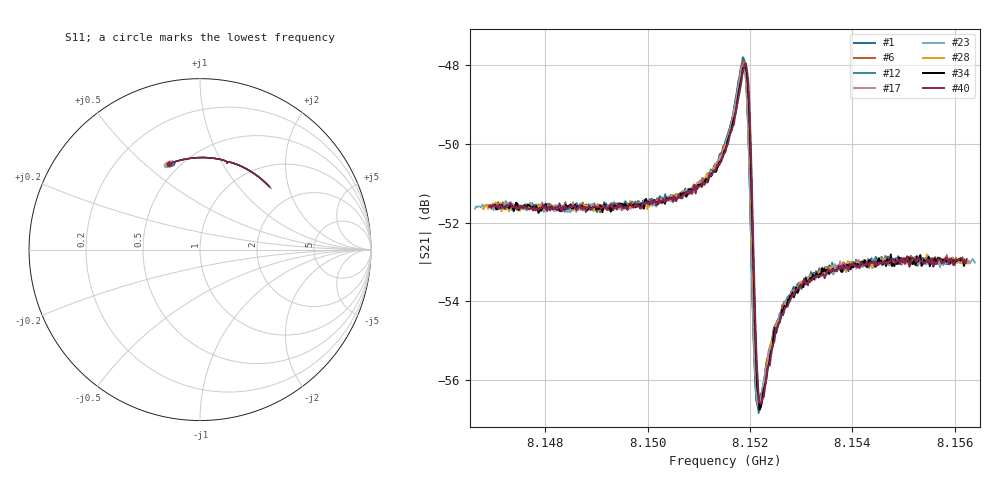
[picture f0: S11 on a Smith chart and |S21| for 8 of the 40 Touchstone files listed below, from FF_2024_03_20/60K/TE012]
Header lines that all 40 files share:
#  HZ  S  RI  R  50.00
! Rohde & Schwarz Vector Network Analyzer
! Rohde-Schwarz,ZNB20-2Port,1311601062101988,3.16
! freq[Hz]  re:S11  im:S11  re:S21  im:S21  re:S12  im:S12  re:S22  im:S22
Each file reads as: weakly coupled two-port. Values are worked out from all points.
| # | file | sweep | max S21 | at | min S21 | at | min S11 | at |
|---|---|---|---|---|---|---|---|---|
| 1 | 320_2_57.9997_59.0668488_84176.203_868.5121312141418_.s2p | 8.14722 GHz to 8.15589 GHz | -47.79 dB | 8.15186 GHz | -56.7 dB | 8.15216 GHz | -5.5 dB | 8.15195 GHz |
| 2 | 321_2_58.0001_59.0668488_84408.125_870.9097926616669_.s2p | 8.14773 GHz to 8.15547 GHz | -47.85 dB | 8.151873 GHz | -56.9 dB | 8.152163 GHz | -5.5 dB | 8.151951 GHz |
| 3 | 322_2_58.0002_59.0690346_84650.336_873.2982199192047_.s2p | 8.14735 GHz to 8.15579 GHz | -47.87 dB | 8.15186 GHz | -56.8 dB | 8.15216 GHz | -5.5 dB | 8.15195 GHz |
| 4 | 323_2_58.0002_59.0673027_84872.188_875.7015445232391_.s2p | 8.14718 GHz to 8.15593 GHz | -47.85 dB | 8.15186 GHz | -56.8 dB | 8.15217 GHz | -5.5 dB | 8.15195 GHz |
| 5 | 324_2_58.0002_59.0685844_85134.0_878.1042895317078_.s2p | 8.14745 GHz to 8.1557 GHz | -47.92 dB | 8.15187 GHz | -56.7 dB | 8.15216 GHz | -5.5 dB | 8.15195 GHz |
| 6 | 325_2_58.0_59.0687637_85365.805_880.5025289058685_.s2p | 8.14701 GHz to 8.15607 GHz | -47.91 dB | 8.15188 GHz | -56.7 dB | 8.15215 GHz | -5.5 dB | 8.15195 GHz |
| 7 | 326_2_57.9999_59.0680313_85607.57_882.937536239624_.s2p | 8.14716 GHz to 8.15595 GHz | -47.94 dB | 8.15188 GHz | -56.8 dB | 8.15219 GHz | -5.5 dB | 8.15195 GHz |
| 8 | 327_2_58.0001_59.0700378_85879.828_885.380012512207_.s2p | 8.1471 GHz to 8.156 GHz | -47.93 dB | 8.15186 GHz | -56.7 dB | 8.15215 GHz | -5.5 dB | 8.15195 GHz |
| 9 | 328_2_58.0001_59.0700378_86122.227_887.7999401092529_.s2p | 8.14699 GHz to 8.15609 GHz | -47.94 dB | 8.15188 GHz | -56.7 dB | 8.15218 GHz | -5.5 dB | 8.15195 GHz |
| 10 | 329_2_57.9997_59.0720482_86353.594_890.2403333187103_.s2p | 8.14704 GHz to 8.15605 GHz | -47.88 dB | 8.15188 GHz | -56.7 dB | 8.15215 GHz | -5.5 dB | 8.15195 GHz |
| 11 | 330_2_58.0004_59.0694923_86585.461_892.6723880767822_.s2p | 8.14731 GHz to 8.15583 GHz | -47.93 dB | 8.15187 GHz | -56.8 dB | 8.15219 GHz | -5.5 dB | 8.15195 GHz |
| 12 | 331_2_57.9999_59.0700378_86827.383_895.069384098053_.s2p | 8.1472 GHz to 8.15591 GHz | -47.97 dB | 8.15189 GHz | -56.8 dB | 8.15217 GHz | -5.5 dB | 8.15195 GHz |
| 13 | 332_2_58.0004_59.0732384_87069.352_897.5007951259613_.s2p | 8.14688 GHz to 8.15618 GHz | -47.96 dB | 8.15188 GHz | -56.7 dB | 8.15218 GHz | -5.5 dB | 8.15195 GHz |
| 14 | 333_2_57.9999_59.0723305_87351.68_899.9372370243073_.s2p | 8.14709 GHz to 8.15601 GHz | -47.97 dB | 8.15186 GHz | -56.7 dB | 8.15217 GHz | -5.5 dB | 8.15195 GHz |
| 15 | 334_2_58.0004_59.070961_87593.383_902.3722252845764_.s2p | 8.14701 GHz to 8.15608 GHz | -47.92 dB | 8.15186 GHz | -56.7 dB | 8.15216 GHz | -5.5 dB | 8.15195 GHz |
| 16 | 335_2_58.0004_59.0724144_87805.164_904.7817916870117_.s2p | 8.14742 GHz to 8.15574 GHz | -47.99 dB | 8.15187 GHz | -56.7 dB | 8.15216 GHz | -5.5 dB | 8.15195 GHz |
| 17 | 336_2_58.0_59.0751495_88067.117_907.2152194976807_.s2p | 8.14702 GHz to 8.15607 GHz | -48.03 dB | 8.15188 GHz | -56.7 dB | 8.15215 GHz | -5.5 dB | 8.15195 GHz |
| 18 | 337_2_58.0_59.0743332_88288.883_909.61399102211_.s2p | 8.14642 GHz to 8.15656 GHz | -48.06 dB | 8.15187 GHz | -56.7 dB | 8.15217 GHz | -5.5 dB | 8.15195 GHz |
| 19 | 338_2_58.0007_59.0746078_88540.648_912.0369520187378_.s2p | 8.14612 GHz to 8.15681 GHz | -47.98 dB | 8.15187 GHz | -56.7 dB | 8.15219 GHz | -5.5 dB | 8.15195 GHz |
| 20 | 339_2_57.9996_59.0759735_88782.414_914.462159872055_.s2p | 8.14675 GHz to 8.15629 GHz | -48.01 dB | 8.15185 GHz | -56.7 dB | 8.15219 GHz | -5.5 dB | 8.15195 GHz |
| 21 | 340_2_57.9996_59.0755157_89054.586_916.8948183059692_.s2p | 8.14701 GHz to 8.15608 GHz | -48.01 dB | 8.15186 GHz | -56.6 dB | 8.15218 GHz | -5.5 dB | 8.15195 GHz |
| 22 | 341_2_58.0002_59.0765953_89890.789_925.4958539009094_.s2p | 8.1466 GHz to 8.15641 GHz | -48.05 dB | 8.15188 GHz | -56.6 dB | 8.15219 GHz | -5.5 dB | 8.15195 GHz |
| 23 | 342_2_58.0002_59.078968_90000.641_927.9064712524414_.s2p | 8.14663 GHz to 8.1564 GHz | -48.06 dB | 8.15188 GHz | -56.7 dB | 8.15219 GHz | -5.5 dB | 8.15195 GHz |
| 24 | 343_2_57.9996_59.0805206_90000.555_930.3161976337433_.s2p | 8.14648 GHz to 8.15652 GHz | -48.01 dB | 8.15188 GHz | -56.7 dB | 8.15218 GHz | -5.5 dB | 8.15195 GHz |
| 25 | 344_2_57.9997_59.0792465_89931.539_932.7412204742432_.s2p | 8.14698 GHz to 8.15611 GHz | -48.01 dB | 8.15189 GHz | -56.6 dB | 8.15216 GHz | -5.5 dB | 8.15196 GHz |
| 26 | 345_2_57.9998_59.078331_89712.719_935.1540250778198_.s2p | 8.14687 GHz to 8.15622 GHz | -48.05 dB | 8.15189 GHz | -56.7 dB | 8.15222 GHz | -5.5 dB | 8.15196 GHz |
| 27 | 346_2_57.9996_59.0805206_89489.703_937.6004836559296_.s2p | 8.14674 GHz to 8.15633 GHz | -48.03 dB | 8.15187 GHz | -56.6 dB | 8.1522 GHz | -5.5 dB | 8.15199 GHz |
| 28 | 347_2_57.9998_59.0812531_89252.883_939.9979619979858_.s2p | 8.14679 GHz to 8.15629 GHz | -48.05 dB | 8.15187 GHz | -56.7 dB | 8.15218 GHz | -5.5 dB | 8.15196 GHz |
| 29 | 348_2_58.0002_59.0810661_88973.758_942.416752576828_.s2p | 8.14652 GHz to 8.15651 GHz | -48.03 dB | 8.15191 GHz | -56.5 dB | 8.15216 GHz | -5.5 dB | 8.15196 GHz |
| 30 | 349_2_57.9998_59.0819778_88764.703_944.8243918418884_.s2p | 8.14663 GHz to 8.15642 GHz | -48.03 dB | 8.15189 GHz | -56.7 dB | 8.15219 GHz | -5.5 dB | 8.15197 GHz |
| 31 | 350_2_57.9994_59.0823402_88495.258_947.2439124584198_.s2p | 8.14662 GHz to 8.15644 GHz | -48.00 dB | 8.15189 GHz | -56.6 dB | 8.15221 GHz | -5.5 dB | 8.15199 GHz |
| 32 | 351_2_57.9999_59.0813408_88286.055_949.653945684433_.s2p | 8.14682 GHz to 8.15627 GHz | -47.96 dB | 8.1519 GHz | -56.7 dB | 8.15221 GHz | -5.5 dB | 8.15197 GHz |
| 33 | 352_2_58.0001_59.0813408_88036.313_952.0787200927734_.s2p | 8.14702 GHz to 8.15611 GHz | -48.04 dB | 8.15191 GHz | -56.6 dB | 8.15223 GHz | -5.5 dB | 8.15198 GHz |
| 34 | 353_2_58.0007_59.0843468_87806.844_954.4833047389984_.s2p | 8.14694 GHz to 8.15618 GHz | -48.01 dB | 8.15191 GHz | -56.8 dB | 8.15219 GHz | -5.5 dB | 8.15198 GHz |
| 35 | 354_2_58.0004_59.0825272_87537.305_956.9124808311462_.s2p | 8.14696 GHz to 8.15617 GHz | -48.01 dB | 8.15191 GHz | -56.8 dB | 8.15221 GHz | -5.5 dB | 8.15198 GHz |
| 36 | 355_2_58.0_59.0837097_87297.82_959.3241567611694_.s2p | 8.1469 GHz to 8.15622 GHz | -47.98 dB | 8.15191 GHz | -56.7 dB | 8.15221 GHz | -5.5 dB | 8.15198 GHz |
| 37 | 356_2_57.9998_59.0864487_87077.945_961.7529685497284_.s2p | 8.14681 GHz to 8.15629 GHz | -47.94 dB | 8.15191 GHz | -56.7 dB | 8.15224 GHz | -5.5 dB | 8.15198 GHz |
| 38 | 357_2_57.9999_59.0844421_86838.141_964.1825664043427_.s2p | 8.14715 GHz to 8.15602 GHz | -47.94 dB | 8.15189 GHz | -56.8 dB | 8.15221 GHz | -5.5 dB | 8.15198 GHz |
| 39 | 358_2_57.999_59.0867195_86568.609_966.5718867778778_.s2p | 8.1473 GHz to 8.1559 GHz | -48.00 dB | 8.15188 GHz | -56.6 dB | 8.15224 GHz | -5.5 dB | 8.15199 GHz |
| 40 | 359_2_57.9996_59.0874481_86338.984_969.0095360279083_.s2p | 8.1469 GHz to 8.15624 GHz | -47.95 dB | 8.15192 GHz | -56.6 dB | 8.15222 GHz | -5.5 dB | 8.15199 GHz |
